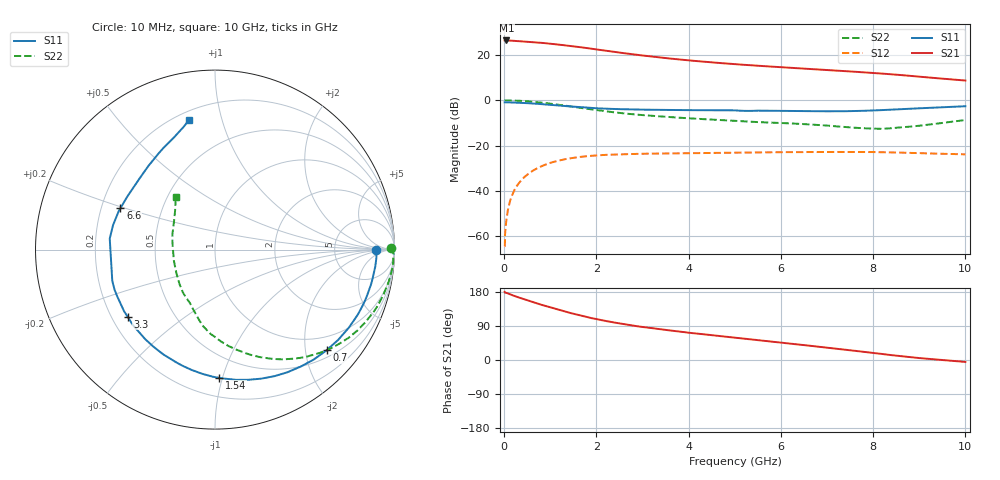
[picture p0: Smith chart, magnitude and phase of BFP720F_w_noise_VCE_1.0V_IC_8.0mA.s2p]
! Infineon Technologies  Discrete & RF Semiconductors
! BFP720F
! VCE =  1.0 V,  IC =  8.0 mA
! Common Emitter S-Parameters:  Jan 2016
# GHz  S  MA  R  50
!  f  S11  S21  S12  S22
! GHz  MAG  ANG  MAG  ANG  MAG  ANG  MAG  ANG
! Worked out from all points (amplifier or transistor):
!   233 points, 10 MHz to 10 GHz, reference 50 ohm
!   highest |S21| = 26.4 dB at 50 MHz (marker M1)
!   |S21| within 3 dB of that: start of sweep to 1.662 GHz
!   unconditionally stable (mu >= 1): start of sweep to 11.68 MHz; 7.321 GHz to end of sweep
!   at 200 MHz: K = 0.05, MSG = 33.4 dB, |S12| = -40.6 dB
!   at 1.74 GHz: K = 0.27, MSG = 24.0 dB, |S12| = -24.8 dB
!   at 10 GHz: K = 1.30, MAG = 13.0 dB, |S12| = -23.9 dB
!   lowest NFmin = 0.50 dB at 450 MHz
!   S11 on the Smith chart (normalised r, x): 10 MHz: 18, +0; 700 MHz: 0.65, -2.45; 1.54 GHz: 0.33, -0.98; 3.3 GHz: 0.26, -0.32; 6.6 GHz: 0.28, +0.19; 10 GHz: 0.25, +0.79
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0.01  0.8967 0.0  20.85 179.7  0.0006 4.4  0.9799 0.5
0.02  0.9012 -1.2  20.66 177.7  0.0011 90.4  0.9967 -1.4
0.05  0.9002 -3.2  20.91 177.3  0.0023 87.3  0.9947 -2.1
0.165  0.8931 -10.2  20.64 171.6  0.0077 84.2  0.9909 -7.1
0.34  0.8797 -20.7  20.06 164.1  0.0157 78.0  0.9727 -14.6
0.7  0.8373 -42.1  18.86 149.9  0.0309 65.4  0.9132 -29.5
0.88  0.8103 -52.7  18.25 143.1  0.0374 59.5  0.8723 -36.5
1.1  0.7789 -64.9  17.28 135.2  0.0443 52.8  0.8183 -44.8
1.3  0.7485 -75.7  16.41 128.4  0.0495 47.1  0.7669 -51.9
1.54  0.7152 -88.0  15.34 120.7  0.0544 41.1  0.7067 -59.8
1.68  0.6977 -94.9  14.72 116.4  0.0567 37.8  0.6729 -64.1
2.02  0.6642 -109.0  13.2 107.3  0.0608 30.9  0.602 -73.5
2.4  0.6412 -122.0  11.65 98.6  0.0636 24.6  0.5393 -82.5
2.8  0.6252 -132.7  10.31 90.6  0.0651 19.6  0.4885 -89.7
3.3  0.614 -142.5  8.991 82.6  0.0665 14.9  0.4464 -96.4
3.4  0.6127 -144.2  8.755 81.0  0.0667 14.1  0.4388 -97.6
4  0.605 -152.6  7.588 72.0  0.0677 9.7  0.3993 -103.1
5.1  0.5891 -167.5  6.164 57.7  0.0697 3.6  0.3467 -111.5
6.6  0.5751 156.3  4.937 38.0  0.0719 -4.5  0.2935 -128.4
6.8  0.572 152.7  4.794 35.3  0.0721 -5.6  0.2843 -131.9
8.4  0.6216 120.3  3.742 12.8  0.0706 -14.9  0.2414 169.5
10  0.7379 101.3  2.725 -5.1  0.0639 -19.6  0.3661 126.7
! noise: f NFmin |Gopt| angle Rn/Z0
0.45  0.5  0.36  4  0.12
0.9  0.52  0.34  9  0.16
1.8  0.57  0.32  16  0.15
2.4  0.6  0.29  26  0.14
5.5  0.76  0.28  53  0.08
10  0.98  0.26  -98  0.16
